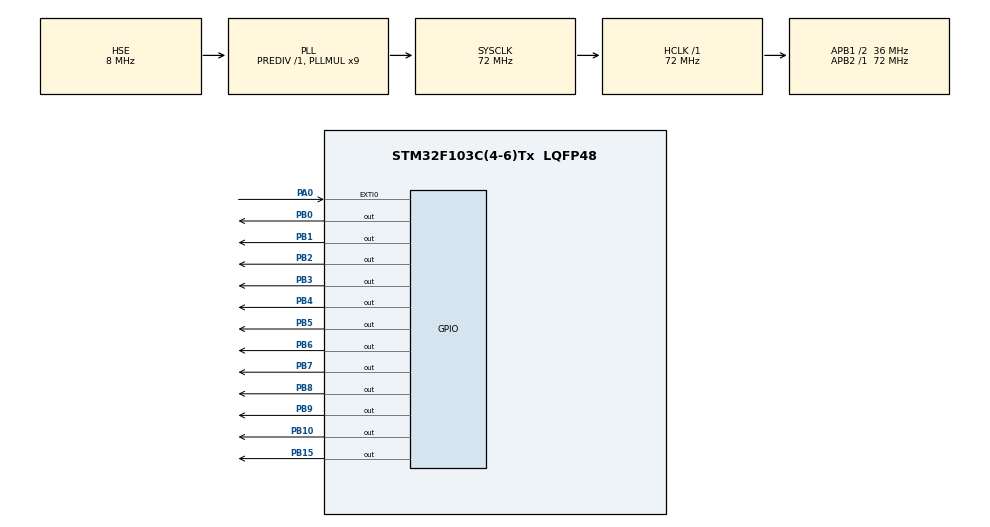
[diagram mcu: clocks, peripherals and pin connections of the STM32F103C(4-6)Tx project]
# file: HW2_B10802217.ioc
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Mcu.Family=STM32F1
Mcu.Name=STM32F103C(4-6)Tx
Mcu.Package=LQFP48
NVIC.EXTI0_IRQn=true\:0\:0\:false\:false\:true\:true\:true
NVIC.PriorityGroup=NVIC_PRIORITYGROUP_4
NVIC.TIM2_IRQn=true\:0\:0\:false\:false\:true\:true\:true
PA0-WKUP.GPIO_ModeDefaultEXTI=GPIO_MODE_IT_FALLING
PA0-WKUP.Signal=GPXTI0
PB0.Signal=GPIO_Output
PB1.Signal=GPIO_Output
PB10.Signal=GPIO_Output
PB15.Signal=GPIO_Output
PB2.Signal=GPIO_Output
PB3.Signal=GPIO_Output
PB4.Signal=GPIO_Output
PB5.Signal=GPIO_Output
PB6.Signal=GPIO_Output
PB7.Signal=GPIO_Output
PB8.Signal=GPIO_Output
PB9.Signal=GPIO_Output
PC14-OSC32_IN.Mode=LSE-External-Oscillator
PC14-OSC32_IN.Signal=RCC_OSC32_IN
PC15-OSC32_OUT.Mode=LSE-External-Oscillator
PC15-OSC32_OUT.Signal=RCC_OSC32_OUT
PD0-OSC_IN.Mode=HSE-External-Oscillator
PD0-OSC_IN.Signal=RCC_OSC_IN
PD1-OSC_OUT.Mode=HSE-External-Oscillator
PD1-OSC_OUT.Signal=RCC_OSC_OUT
ProjectManager.HeapSize=0x200
ProjectManager.StackSize=0x400
ProjectManager.TargetToolchain=MDK-ARM V5
RCC.AHBFreq_Value=72000000
RCC.APB1CLKDivider=RCC_HCLK_DIV2
RCC.APB1Freq_Value=36000000
RCC.APB1TimFreq_Value=72000000
RCC.APB2Freq_Value=72000000
RCC.APB2TimFreq_Value=72000000
RCC.HCLKFreq_Value=72000000
RCC.PLLMUL=RCC_PLL_MUL9
RCC.PLLSourceVirtual=RCC_PLLSOURCE_HSE
RCC.SYSCLKFreq_VALUE=72000000
RCC.SYSCLKSource=RCC_SYSCLKSOURCE_PLLCLK
RCC.USBFreq_Value=72000000
TIM2.Period=1
TIM2.Prescaler=720
VP_SYS_VS_ND.Mode=No_Debug
VP_TIM2_VS_ClockSourceINT.Mode=Internal
board=custom

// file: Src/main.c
/* USER CODE BEGIN Header */
/**
  ******************************************************************************
  * @file           : main.c
  * @brief          : Main program body
  ******************************************************************************
  * @attention
  *
  * <h2><center>&copy; Copyright (c) 2021 STMicroelectronics.
  * All rights reserved.</center></h2>
  *
  * This software component is licensed by ST under BSD 3-Clause license,
  * the "License"; You may not use this file except in compliance with the
  * License. You may obtain a copy of the License at:
  *                        opensource.org/licenses/BSD-3-Clause
  *
  ******************************************************************************
  */
/* USER CODE END Header */

#include "main.h"

/* USER CODE BEGIN PM */
int flag;
int count1, dtime;
int *dflag, dflag1;
int count_clock = 0;
uint8_t num[16] = {0x30, 0x31, 0x32, 0x33, 0x34, 0x35, 0x36, 0x37, 0x38, 0x39,
									 0x41, 0x42, 0x43, 0x44, 0x45, 0x46};
int step = 0;
uint8_t dataIn[4];
uint8_t code;
int dataSeq;
int lastTime;
int nowTime;
int k, a;
/* USER CODE END PM */

TIM_HandleTypeDef htim2;

void SystemClock_Config(void);
static void MX_GPIO_Init(void);
static void MX_TIM2_Init(void);

/* USER CODE BEGIN 0 */
void Delay_10us (int us)	//1us
{
	flag = 1;
	dtime = us;
	count1 = 0;
	*dflag = 1;
	dflag1 = 1;
	for (; *dflag == 1; *dflag = dflag1);
}

void WriteLcdData (uint8_t data)
{
	Delay_10us (2);
	GPIOB -> BSRR = 0x00ff0000;
	GPIOB -> BSRR = data;
	HAL_GPIO_WritePin(GPIOB, GPIO_PIN_9, GPIO_PIN_RESET); // write data to LCD
	HAL_GPIO_WritePin(GPIOB, GPIO_PIN_10, GPIO_PIN_SET); // data input
	HAL_GPIO_WritePin(GPIOB, GPIO_PIN_8, GPIO_PIN_RESET); // initial HIGH enable
	Delay_10us (1);
	// negative edge trigger
	HAL_GPIO_WritePin(GPIOB, GPIO_PIN_8, GPIO_PIN_SET);
	Delay_10us (1);
	HAL_GPIO_WritePin(GPIOB, GPIO_PIN_8, GPIO_PIN_RESET);
	Delay_10us (1);
}

void WriteLcdCom (uint8_t com)
{
	Delay_10us (2);
	GPIOB -> BSRR = 0x00ff0000;
	GPIOB -> BSRR = com;
	HAL_GPIO_WritePin(GPIOB, GPIO_PIN_9, GPIO_PIN_RESET); // write data to LCD
	HAL_GPIO_WritePin(GPIOB, GPIO_PIN_10, GPIO_PIN_RESET); // instruction input
	HAL_GPIO_WritePin(GPIOB, GPIO_PIN_8, GPIO_PIN_RESET); // initial HIGH enable
	Delay_10us (1);
	// negative edge trigger
	HAL_GPIO_WritePin(GPIOB, GPIO_PIN_8, GPIO_PIN_SET);
	Delay_10us (1);
	HAL_GPIO_WritePin(GPIOB, GPIO_PIN_8, GPIO_PIN_RESET);
	Delay_10us (1);
}

void PrintTitle ()
{
	WriteLcdCom (0x80);
	WriteLcdData (0x4E); // 'N'
	WriteLcdData (0x54); // 'T'
	WriteLcdData (0x55); // 'U'
	WriteLcdData (0x53); // 'S'
	WriteLcdData (0x54); // 'T'
	WriteLcdData (0x20); // ' '
	WriteLcdData (0x49); // 'I'
	WriteLcdData (0x52); // 'R'
	WriteLcdData (0x20); // ' '
	WriteLcdData (0x44); // 'D'
	WriteLcdData (0x45); // 'E'
	WriteLcdData (0x43); // 'C'
	WriteLcdData (0x4F); // 'O'
	WriteLcdData (0x44); // 'D'
	WriteLcdData (0x45); // 'E'
	WriteLcdData (0x52); // 'R'
}

uint8_t reverse (uint8_t x)
{
	x = (((x & 0xaa) >> 1) | ((x & 0x55) << 1));
  x = (((x & 0xcc) >> 2) | ((x & 0x33) << 2));

  return ((x >> 4) | (x << 4));
}
void PrintData (uint8_t byte1, uint8_t byte2, uint8_t byte3, uint8_t byte4)
{
	byte3 = reverse (byte3);
	byte4 = reverse (byte4);
	WriteLcdCom (0xC0+3); //print at second line
	WriteLcdData (num[byte1/16]);
	WriteLcdData (num[byte1%16]);
	WriteLcdData (0x2D); // '-'
	WriteLcdData (num[byte2/16]);
	WriteLcdData (num[byte2%16]);
	WriteLcdData (0x2D); // '-'
	WriteLcdData (num[byte3/16]);
	WriteLcdData (num[byte3%16]);
	WriteLcdData (0x2D); // '-'
	WriteLcdData (num[byte4/16]);
	WriteLcdData (num[byte4%16]);
	Delay_10us(10000);
	HAL_GPIO_WritePin (GPIOB, GPIO_PIN_15, GPIO_PIN_SET);
}

int diffTime () // compute difftime
{
	int diff;
	nowTime = count_clock;

	if (nowTime < lastTime)
		diff = (nowTime + 100000) - lastTime;
	else
		diff = nowTime - lastTime;

	lastTime = nowTime;
	return diff;
}

uint8_t determine (int diff)	// decide 1 or 0
{
	uint8_t value;
	if(diff < 150)
		value = 0x00;
	else
		value = 0x01;

	return value;
}
/* USER CODE END 0 */

int main(void)
{
  /* USER CODE BEGIN 1 */
	flag = 0;
  /* USER CODE END 1 */

  /* MCU Configuration--------------------------------------------------------*/

  /* Reset of all peripherals, Initializes the Flash interface and the Systick. */
  HAL_Init();

  /* Configure the system clock */
  SystemClock_Config();

  /* Initialize all configured peripherals */
  MX_GPIO_Init();
  MX_TIM2_Init();
  /* USER CODE BEGIN 2 */
	HAL_TIM_Base_Start_IT(&htim2);

	WriteLcdCom (0x38); //display two line
	WriteLcdCom (0x06); //display setting
	WriteLcdCom (0x0C); //display on
	PrintTitle ();
	HAL_GPIO_WritePin (GPIOB, GPIO_PIN_15, GPIO_PIN_SET);
	a = 0;
  /* USER CODE END 2 */

  /* Infinite loop */
  while (1)
  {
		if (k == 1)
		{
			PrintData (dataIn[0], dataIn[1], dataIn[2], dataIn[3]);
			k = 0;
		}
  }
}

void SystemClock_Config(void)
{
  RCC_OscInitTypeDef RCC_OscInitStruct = {0};
  RCC_ClkInitTypeDef RCC_ClkInitStruct = {0};

  /** Initializes the CPU, AHB and APB busses clocks
  */
  RCC_OscInitStruct.OscillatorType = RCC_OSCILLATORTYPE_HSE;
  RCC_OscInitStruct.HSEState = RCC_HSE_ON;
  RCC_OscInitStruct.HSEPredivValue = RCC_HSE_PREDIV_DIV1;
  RCC_OscInitStruct.HSIState = RCC_HSI_ON;
  RCC_OscInitStruct.PLL.PLLState = RCC_PLL_ON;
  RCC_OscInitStruct.PLL.PLLSource = RCC_PLLSOURCE_HSE;
  RCC_OscInitStruct.PLL.PLLMUL = RCC_PLL_MUL9;
  if (HAL_RCC_OscConfig(&RCC_OscInitStruct) != HAL_OK)
  {
    Error_Handler();
  }
  /** Initializes the CPU, AHB and APB busses clocks
  */
  RCC_ClkInitStruct.ClockType = RCC_CLOCKTYPE_HCLK|RCC_CLOCKTYPE_SYSCLK
                              |RCC_CLOCKTYPE_PCLK1|RCC_CLOCKTYPE_PCLK2;
  RCC_ClkInitStruct.SYSCLKSource = RCC_SYSCLKSOURCE_PLLCLK;
  RCC_ClkInitStruct.AHBCLKDivider = RCC_SYSCLK_DIV1;
  RCC_ClkInitStruct.APB1CLKDivider = RCC_HCLK_DIV2;
  RCC_ClkInitStruct.APB2CLKDivider = RCC_HCLK_DIV1;

  if (HAL_RCC_ClockConfig(&RCC_ClkInitStruct, FLASH_LATENCY_2) != HAL_OK)
  {
    Error_Handler();
  }
}

static void MX_TIM2_Init(void)
{

  TIM_ClockConfigTypeDef sClockSourceConfig = {0};
  TIM_MasterConfigTypeDef sMasterConfig = {0};

  htim2.Instance = TIM2;
  htim2.Init.Prescaler = 720;
  htim2.Init.CounterMode = TIM_COUNTERMODE_UP;
  htim2.Init.Period = 1;
  htim2.Init.ClockDivision = TIM_CLOCKDIVISION_DIV1;
  htim2.Init.AutoReloadPreload = TIM_AUTORELOAD_PRELOAD_DISABLE;
  if (HAL_TIM_Base_Init(&htim2) != HAL_OK)
  {
    Error_Handler();
  }
  sClockSourceConfig.ClockSource = TIM_CLOCKSOURCE_INTERNAL;
  if (HAL_TIM_ConfigClockSource(&htim2, &sClockSourceConfig) != HAL_OK)
  {
    Error_Handler();
  }
  sMasterConfig.MasterOutputTrigger = TIM_TRGO_RESET;
  sMasterConfig.MasterSlaveMode = TIM_MASTERSLAVEMODE_DISABLE;
  if (HAL_TIMEx_MasterConfigSynchronization(&htim2, &sMasterConfig) != HAL_OK)
  {
    Error_Handler();
  }

}

static void MX_GPIO_Init(void)
{
  GPIO_InitTypeDef GPIO_InitStruct = {0};

  /* GPIO Ports Clock Enable */
  __HAL_RCC_GPIOC_CLK_ENABLE();
  __HAL_RCC_GPIOD_CLK_ENABLE();
  __HAL_RCC_GPIOA_CLK_ENABLE();
  __HAL_RCC_GPIOB_CLK_ENABLE();

  /*Configure GPIO pin Output Level */
  HAL_GPIO_WritePin(GPIOB, GPIO_PIN_0|GPIO_PIN_1|GPIO_PIN_2|GPIO_PIN_10
                          |GPIO_PIN_15|GPIO_PIN_3|GPIO_PIN_4|GPIO_PIN_5
                          |GPIO_PIN_6|GPIO_PIN_7|GPIO_PIN_8|GPIO_PIN_9, GPIO_PIN_RESET);

  /*Configure GPIO pin : PA0 */
  GPIO_InitStruct.Pin = GPIO_PIN_0;
  GPIO_InitStruct.Mode = GPIO_MODE_IT_FALLING;
  GPIO_InitStruct.Pull = GPIO_NOPULL;
  HAL_GPIO_Init(GPIOA, &GPIO_InitStruct);

  /*Configure GPIO pins : PB0 PB1 PB2 PB10
                           PB15 PB3 PB4 PB5
                           PB6 PB7 PB8 PB9 */
  GPIO_InitStruct.Pin = GPIO_PIN_0|GPIO_PIN_1|GPIO_PIN_2|GPIO_PIN_10
                          |GPIO_PIN_15|GPIO_PIN_3|GPIO_PIN_4|GPIO_PIN_5
                          |GPIO_PIN_6|GPIO_PIN_7|GPIO_PIN_8|GPIO_PIN_9;
  GPIO_InitStruct.Mode = GPIO_MODE_OUTPUT_PP;
  GPIO_InitStruct.Pull = GPIO_NOPULL;
  GPIO_InitStruct.Speed = GPIO_SPEED_FREQ_LOW;
  HAL_GPIO_Init(GPIOB, &GPIO_InitStruct);

  /* EXTI interrupt init*/
  HAL_NVIC_SetPriority(EXTI0_IRQn, 0, 0);
  HAL_NVIC_EnableIRQ(EXTI0_IRQn);

}

/* USER CODE BEGIN 4 */
void HAL_TIM_PeriodElapsedCallback(TIM_HandleTypeDef *htim) { // 1 us
	switch (flag)
	{
		case 0:
			break;

		case 1:
			if (count1 >= dtime)
			{
				count1 = 0;
				flag = 0;
				dflag1 = 0;
			}
			else
			{
				count1++;
				flag = 1;
			}
			break;

			default:
				break;
	}
	count_clock++;
	if	(count_clock >= 100000)
		count_clock = 0;
}

int t;
void HAL_GPIO_EXTI_Callback(uint16_t GPIO_Pin) // negative edge trigger
{
	switch (step)
	{
		case 0:	//leader code
			t = diffTime();
			if(t > 13000 || a==0)
			{
				HAL_GPIO_WritePin (GPIOB, GPIO_PIN_15, GPIO_PIN_RESET);
				a = 1;
				dataIn[0] = dataIn[1] = dataIn[2] = dataIn[3] = 0x00;
				dataSeq = 0;
				step ++;
			}
			break;
		case 1: //Address1
			if (dataSeq < 8 && dataSeq > 0)
			{
				dataSeq++;
				code = determine (diffTime ());
				dataIn[0] += code;
				dataIn[0] <<= 1;
			}
			else if (dataSeq == 0)
			{
				lastTime = count_clock;
				dataSeq++;
			}
			else if (dataSeq == 8)
			{
				code = determine (diffTime ());
				dataIn[0] += code;
				dataSeq = 1;
				step++;
			}
			break;
		case 2: //Address2
			if (dataSeq < 8)
			{
				dataSeq++;
				code = determine (diffTime ());
				dataIn[1] += code;
				dataIn[1] <<= 1;
			}
			else
			{
				code = determine (diffTime ());
				dataIn[1] += code;
				dataSeq = 1;
				step++;
			}
			break;
		case 3: //command
			if (dataSeq < 8)
			{
				dataSeq++;
				code = determine (diffTime ());
				dataIn[2] += code;
				dataIn[2] <<= 1;
			}
			else
			{
				code = determine (diffTime ());
				dataIn[2] += code;
				dataSeq = 1;
				step++;
			}
			break;
		case 4: //command_inverse
			if (dataSeq < 8)
			{
				dataSeq++;
				code = determine (diffTime ());
				dataIn[3] += code;
				dataIn[3] <<= 1;
			}
			else
			{
				code = determine (diffTime ());
				dataIn[3] += code;
				step = 0;
				k = 1;
			}
			break;
	}
}

/* USER CODE END 4 */

void Error_Handler(void)
{
}

/************************ (C) COPYRIGHT STMicroelectronics *****END OF FILE****/
